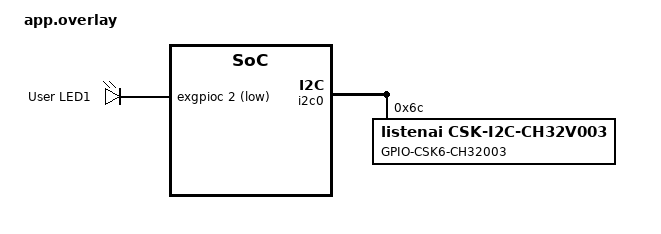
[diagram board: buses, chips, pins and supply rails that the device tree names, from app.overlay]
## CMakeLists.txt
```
# SPDX-License-Identifier: Apache-2.0

cmake_minimum_required(VERSION 3.20.0)

set(SUPPORT_BOARDS csk6012_nano csk6011a_nano csk6012_c3_nano csk6011a_c3_nano)
if(NOT ${BOARD} IN_LIST SUPPORT_BOARDS)
    message("Please choose one of the following boards:")
    foreach(item ${SUPPORT_BOARDS})
        message(STATUS ${item})
    endforeach()
    message(FATAL_ERROR "\nThe project does not support the ${BOARD}")
endif()

find_package(Zephyr REQUIRED HINTS $ENV{ZEPHYR_BASE})
project(gpio_led)

target_sources(app PRIVATE src/main.c)
```

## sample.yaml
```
sample:
  name: exmcu_gpio_led Sample

tests:
  sample.board.csk6.driver.exmcu_gpio_led:
    harness: console
    harness_config:
      fixture: ch32v003
      type: one_line
      regex:
        - "exmcu gpio led sample"
```

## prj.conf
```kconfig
CONFIG_GPIO=y
CONFIG_GPIO_CSK6_CH32V003=y
CONFIG_LOG=y
CONFIG_LOG_PRINTK=y
CONFIG_LOG_MODE_IMMEDIATE=y
```

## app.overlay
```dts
&i2c0 {
    status = "okay";
    pinctrl-0 = <&pinctrl_i2c0_scl_default &pinctrl_i2c0_sda_default>;
    pinctrl-names = "default";


    csk6_ch32v003: csk6_ch32v003@6c {
        /**
         * Please make sure that the external MCU firmware has been loaded
         * SCL --> external MCU PC5
         * SDA --> external MCU PC6
         */
        compatible = "listenai,csk-i2c-ch32v003";
        reg = <0x6c>;
        label = "GPIO-CSK6-CH32003";
        status = "okay";
        #address-cells = <1>;
        #size-cells = <0>;

        /* CH32V003-GPIOA */
        exgpioa: gpio@0 {
            compatible = "listenai,csk-gpio-ch32003-port";
            label = "EX-GPIOA";
            reg = <0x00>;
            status = "okay";
            ngpios = <8>;
            #gpio-cells = <2>;
            gpio-controller;
            pin_mask = <0x00>;
        };

        /* CH32V003-GPIOB */
        exgpiob: gpio@1 {
            compatible = "listenai,csk-gpio-ch32003-port";
            label = "EX-GPIOB";
            reg = <0x01>;
            status = "okay";
            ngpios = <8>;
            #gpio-cells = <2>;
            gpio-controller;
            pin_mask = <0x00>;
        };

        /* CH32V003-GPIOC */
        exgpioc: gpio@2 {
            compatible = "listenai,csk-gpio-ch32003-port";
            label = "EX-GPIOC";
            reg = <0x02>;
            status = "okay";
            ngpios = <8>;
            #gpio-cells = <2>;
            gpio-controller;
            pin_mask = <0x00>;
        };

        /* CH32V003-GPIOD */
        exgpiod: gpio@3 {
            compatible = "listenai,csk-gpio-ch32003-port";
            label = "EX-GPIOD";
            reg = <0x03>;
            status = "okay";
            ngpios = <8>;
            #gpio-cells = <2>;
            gpio-controller;
            pin_mask = <0x00>;
        };
    };
};

&green_led {
    gpios = <&exgpioc 2 1>;
    label = "User LED1";
};

/ {
    aliases {
        csk6-exmcu = &csk6_ch32v003;
    };
};
```

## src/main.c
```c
/*
 * Copyright (c) 2023 Anhui(Shenzhen) Listenai Co., Ltd.
 *
 * SPDX-License-Identifier: Apache-2.0
 */

#include <device.h>
#include <devicetree.h>
#include <drivers/gpio.h>
#include <zephyr.h>

/* 1000 msec = 1 sec */
#define SLEEP_TIME_MS 1000

#define LED0 DT_GPIO_LABEL(DT_NODELABEL(green_led), gpios)
#define PIN  DT_GPIO_PIN(DT_NODELABEL(green_led), gpios)

typedef struct exgpio_test_pin {
	const struct device *dev;
	int pin;
} exgpio_test_pin_t;

typedef struct exgpio_test_group {
	exgpio_test_pin_t a;
	exgpio_test_pin_t b;
} exgpio_test_group_t;

#define EXGPIO_TEST_OUTPUT(status, fmt, ...)                                                       \
	printk("[%s][TEST][EXGPIO]:%s, " fmt "\n", (status) ? " PASS " : "FAILED", __FUNCTION__,   \
	       __VA_ARGS__)

#define EXGPIO_TEST_GROUP_DEFINE(dev1_name, pin1, dev2_name, pin2)                                 \
	{                                                                                          \
		.a =                                                                               \
			{                                                                          \
				.dev = DEVICE_DT_GET(DT_NODELABEL(dev1_name)),                     \
				.pin = pin1,                                                       \
			},                                                                         \
		.b = {.dev = DEVICE_DT_GET(DT_NODELABEL(dev2_name)),                               \
		      .pin = pin2,                                                                 \
		}                                                                                  \
	}

const static struct exgpio_test_group groups[] = {
	EXGPIO_TEST_GROUP_DEFINE(exgpioc, 0, exgpiod, 0),
	EXGPIO_TEST_GROUP_DEFINE(exgpioc, 2, exgpiod, 2),
	EXGPIO_TEST_GROUP_DEFINE(exgpioc, 3, exgpiod, 3),
	EXGPIO_TEST_GROUP_DEFINE(exgpioc, 4, exgpiod, 4),
};

static uint8_t exgpio_test_group_case_output_input(const struct device *dev_out, int out_pin,
						   const struct device *dev_in, int in_pin,
						   uint8_t test_level)
{
	gpio_pin_configure(dev_out, out_pin, GPIO_OUTPUT);
	gpio_pin_configure(dev_in, in_pin, GPIO_INPUT);
	gpio_pin_set_raw(dev_out, out_pin, test_level);

	/* sleep sometimes to wait exmcu detect level changed */
	k_msleep(10);
	int value = gpio_pin_get_raw(dev_in, in_pin);

	// printk("[TEST]%s%d-->%s%d, level:%s, STATUS: %s\n", dev_out->name, out_pin, dev_in->name,
	//        in_pin, test_level ? "HIGH" : "LOW", value == test_level ? "OK" : "FAIL");
	EXGPIO_TEST_OUTPUT(value == test_level, "%s%d--[%s]-->%s%d", dev_out->name,
			   out_pin, test_level ? "HIGH" : "LOW ", dev_in->name, in_pin);

	return value == test_level;
}

static void exgpio_test_group_pull_mode(const struct device *dev_in1, int in_pin1,
					const struct device *dev_in2, int in_pin2,
					uint8_t pull_mode)
{
	gpio_pin_configure(dev_in1, in_pin1,
			   GPIO_INPUT | (pull_mode ? GPIO_PULL_UP : GPIO_PULL_DOWN));
	gpio_pin_configure(dev_in2, in_pin2,
			   GPIO_INPUT | (pull_mode ? GPIO_PULL_UP : GPIO_PULL_DOWN));
	/* sleep sometimes to wait exmcu detect level changed */
	k_msleep(200);
	int value1 = gpio_pin_get_raw(dev_in1, in_pin1);
	int value2 = gpio_pin_get_raw(dev_in2, in_pin2);

	EXGPIO_TEST_OUTPUT(((value1 == value2) & (value1 == pull_mode)), "%s%d<--[%s]-->%s%d",
			   dev_in1->name, in_pin1, pull_mode ? " UP " : "DOWN", dev_in2->name,
			   in_pin2);
}

void exgpio_test_group(void)
{
	int i;
	uint8_t check = 1;

	for (i = 0; i < sizeof(groups) / sizeof(groups[0]); i++) {
		if (!device_is_ready(groups[i].a.dev)) {
			printk("group %d, device %s is not ready\n", i, groups[i].a.dev->name);
		}

		if (!device_is_ready(groups[i].b.dev)) {
			printk("group %d, device %s is not ready\n", i, groups[i].b.dev->name);
		}

		printk("\n-------GPIO,GROUP %d-------\n", i);
		check &= exgpio_test_group_case_output_input(groups[i].a.dev, groups[i].a.pin,
							     groups[i].b.dev, groups[i].b.pin, 1);
		check &= exgpio_test_group_case_output_input(groups[i].a.dev, groups[i].a.pin,
							     groups[i].b.dev, groups[i].b.pin, 0);
		check &= exgpio_test_group_case_output_input(groups[i].a.dev, groups[i].a.pin,
							     groups[i].b.dev, groups[i].b.pin, 1);

		check &= exgpio_test_group_case_output_input(groups[i].b.dev, groups[i].b.pin,
							     groups[i].a.dev, groups[i].a.pin, 1);
		check &= exgpio_test_group_case_output_input(groups[i].b.dev, groups[i].b.pin,
							     groups[i].a.dev, groups[i].a.pin, 0);
		check &= exgpio_test_group_case_output_input(groups[i].b.dev, groups[i].b.pin,
							     groups[i].a.dev, groups[i].a.pin, 1);
	}

	if (check) {
		printk("GPIO LOOPBACK TEST OK\n");
	}
}

void exgpio_pull_mode_test(void)
{
	int i;
	for (i = 0; i < sizeof(groups) / sizeof(groups[0]); i++) {
		if (!device_is_ready(groups[i].a.dev)) {
			printk("group %d, device %s is not ready\n", i, groups[i].a.dev->name);
		}

		if (!device_is_ready(groups[i].b.dev)) {
			printk("group %d, device %s is not ready\n", i, groups[i].b.dev->name);
		}

		printk("\n-------PULL,GROUP %d-------\n", i);
		exgpio_test_group_pull_mode(groups[i].a.dev, groups[i].a.pin, groups[i].b.dev,
					    groups[i].b.pin, 0);
		exgpio_test_group_pull_mode(groups[i].a.dev, groups[i].a.pin, groups[i].b.dev,
					    groups[i].b.pin, 1);
		exgpio_test_group_pull_mode(groups[i].a.dev, groups[i].a.pin, groups[i].b.dev,
					    groups[i].b.pin, 0);
		exgpio_test_group_pull_mode(groups[i].a.dev, groups[i].a.pin, groups[i].b.dev,
					    groups[i].b.pin, 1);
		exgpio_test_group_pull_mode(groups[i].a.dev, groups[i].a.pin, groups[i].b.dev,
					    groups[i].b.pin, 0);
	}
}

void main(void)
{
	printk("exmcu gpio led sample\n");
	exgpio_test_group();
	exgpio_pull_mode_test();
}
```
